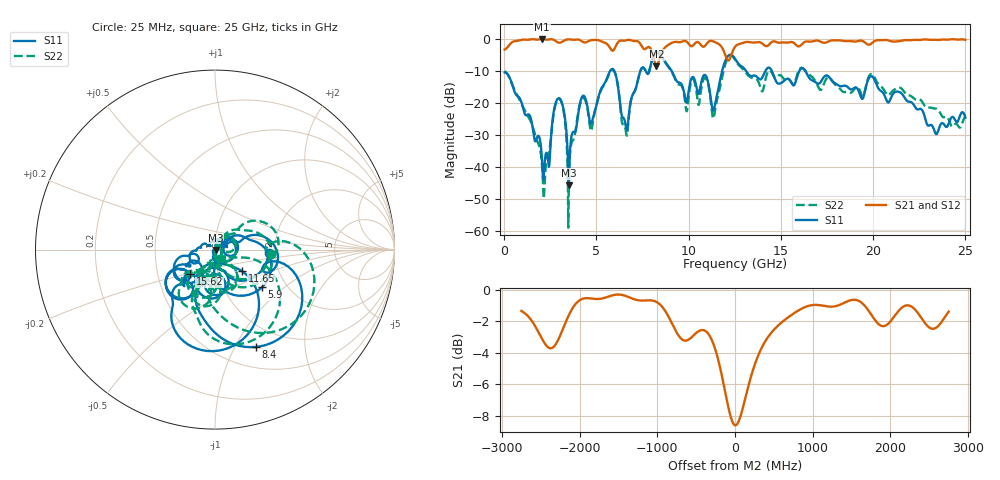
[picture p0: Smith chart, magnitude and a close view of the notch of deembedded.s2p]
! RG_s4_pwr_n4: 3D, de-embedded (matched 2x-thru)
# Hz S RI R 50
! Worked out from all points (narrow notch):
!   1000 points, 25 MHz to 25 GHz, reference 50 ohm
!   highest |S21| = -0.09 dB at 2.05 GHz (marker M1); lowest = -8.6 dB at 8.25 GHz (marker M2)
!   notch at M2: 7.8 dB deep, 460 MHz wide at half that depth
!   lowest |S11| = -45.8 dB at 3.5 GHz (marker M3), VSWR 1.01, Z = 50.5 - j0.18 ohm
!   |S11| at or under -10 dB: start of sweep to 5.746 GHz; 9.075 GHz to 11.82 GHz (2.74 GHz wide, 26.2 % of centre); 16.32 GHz to end of sweep (the widest 3 of 7)
!   |S22| runs from -59.0 to -4.3 dB; largest |S21 - S12| = 0.009
!   S11 on the Smith chart (normalised r, x): 25 MHz: 1.85, -0.08; 5.9 GHz: 1.51, -0.71; 8.4 GHz: 0.73, -1.21; 11.65 GHz: 1.31, -0.33; 15.62 GHz: 0.73, -0.21; 25 GHz: 1.10, +0.07
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2.5e7  0.2987 -0.0193  0.6798 0.0177  0.673 0.0199  0.3099 -0.0219
2.05e9  -0.0109 -0.00722  0.9768 -0.1615  0.9716 -0.159  -0.0051 -0.00958
2.425e9  0.00804 0.00596  0.9542 -0.2076  0.9521 -0.2125  0.00763 0.0143
2.95e9  0.1168 -0.00495  0.8361 -0.2425  0.833 -0.2463  0.1174 0.0115
3.5e9  0.00483 -0.00178  0.9388 -0.2838  0.9346 -0.2851  0.00277 0.00384
4.2e9  0.1071 0.0545  0.8263 -0.4013  0.8284 -0.3981  0.0872 0.072
4.725e9  0.0472 0.00748  0.869 -0.3894  0.8715 -0.3872  0.0324 0.0177
5.9e9  0.2627 -0.2091  0.5851 -0.2927  0.5856 -0.2953  0.3021 -0.1206
6.6e9  0.0347 -0.0243  0.8086 -0.4919  0.8068 -0.4904  0.0344 -0.00864
7.4e9  0.3231 0.0325  0.4957 -0.6482  0.4964 -0.6502  0.2911 0.1428
8.25e9  0.4094 -0.4543  0.2939 -0.2276  0.2953 -0.2264  0.5222 -0.3082
8.35e9  0.2891 -0.5296  0.3972 -0.1413  0.3987 -0.1423  0.4277 -0.4139
8.4e9  0.2259 -0.5425  0.4553 -0.1223  0.456 -0.124  0.3712 -0.4438
9.875e9  -0.00242 -0.1007  0.6704 -0.6167  0.6715 -0.6177  0.00802 -0.0747
1.135e10  0.0129 -0.0755  0.5614 -0.7152  0.5627 -0.7155  0.0282 -0.0498
1.165e10  0.1507 -0.1205  0.4126 -0.7104  0.4117 -0.7094  0.145 -0.0441
1.2525e10  -0.2349 -0.4227  0.6549 -0.3791  0.654 -0.3801  -0.0498 -0.4617
1.5625e10  -0.1372 -0.1367  0.4177 -0.7806  0.4162 -0.7804  -0.0779 -0.18
1.6675e10  -0.1969 -0.1103  0.4458 -0.7923  0.4446 -0.7912  -0.189 -0.1741
2.085e10  -0.0904 -0.0483  0.1036 -0.934  0.106 -0.9322  -0.0606 -0.1177
2.34e10  -0.025 0.021  -0.0768 -0.9596  -0.0714 -0.9581  -0.0275 -0.0768
2.5e10  0.049 0.0326  -0.2377 -0.9335  -0.2314 -0.94  0.0406 -0.0453
